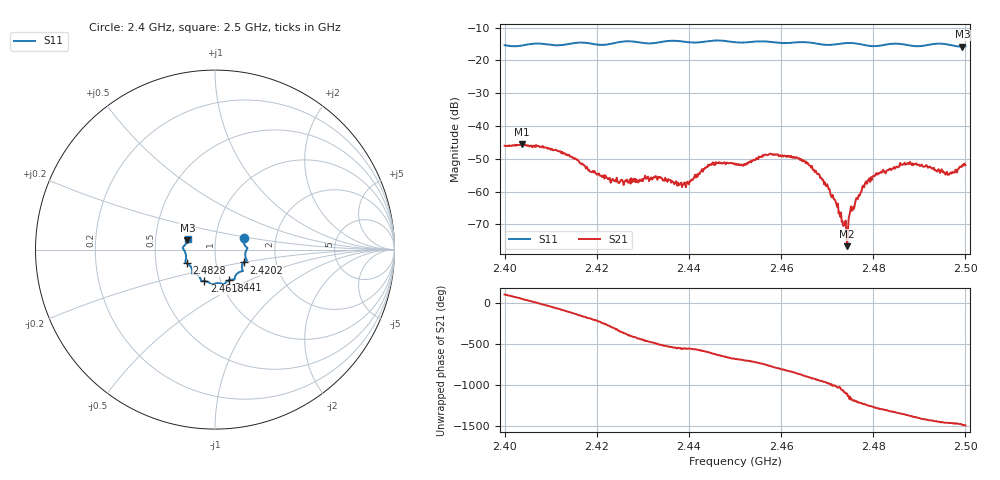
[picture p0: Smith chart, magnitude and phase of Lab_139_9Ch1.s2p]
# Hz S RI R 50
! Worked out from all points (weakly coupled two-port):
!   601 points, 2.4 GHz to 2.5 GHz, reference 50 ohm
!   highest |S21| = -45.49 dB at 2.4037 GHz (marker M1); lowest = -76.7 dB at 2.4743 GHz (marker M2)
!   lowest |S11| = -15.8 dB at 2.4993 GHz (marker M3), VSWR 1.39, Z = 36.5 + j3.81 ohm
!   |S11| at or under -10 dB: start of sweep to end of sweep
!   S12 and S22 are empty: the file has one direction only
!   S11 on the Smith chart (normalised r, x): 2.4 GHz: 1.36, +0.18; 2.4202 GHz: 1.36, -0.20; 2.441 GHz: 1.10, -0.39; 2.4618 GHz: 0.84, -0.30; 2.4828 GHz: 0.72, -0.11; 2.5 GHz: 0.73, +0.09
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2.4e9  0.1589 0.0629  -0.00104 0.00489  0 0  0 0
2.403667e9  0.1668 0.0225  0.00338 0.0041  0 0  0 0
2.416667e9  0.1772 -0.0607  -0.00244 -0.000965  0 0  0 0
2.420167e9  0.1589 -0.0714  -0.00143 0.00115  0 0  0 0
2.425333e9  0.1548 -0.1153  0.00151 7.65e-05  0 0  0 0
2.433333e9  0.1116 -0.1508  -0.00138 -0.000956  0 0  0 0
2.439e9  0.0978 -0.1664  -0.00135 0.00026  0 0  0 0
2.441e9  0.0789 -0.1699  -0.00144 0.000642  0 0  0 0
2.444667e9  0.0531 -0.1917  -0.000941 0.00238  0 0  0 0
2.45e9  0.0285 -0.1875  0.0021 0.00151  0 0  0 0
2.461833e9  -0.0591 -0.1755  -0.00135 -0.00315  0 0  0 0
2.466667e9  -0.0789 -0.1683  -0.0023 0.000884  0 0  0 0
2.47e9  -0.095 -0.1441  -0.000376 0.00124  0 0  0 0
2.474333e9  -0.1262 -0.1343  0.000133 -6.28e-05  0 0  0 0
2.475167e9  -0.1276 -0.1334  -9.35e-05 -0.000588  0 0  0 0
2.478e9  -0.1274 -0.1162  -0.000999 -0.000587  0 0  0 0
2.482833e9  -0.1572 -0.0765  -0.00147 0.00147  0 0  0 0
2.483333e9  -0.1603 -0.0751  -0.00118 0.00177  0 0  0 0
2.488e9  -0.1615 -0.0499  0.00124 0.00256  0 0  0 0
2.496167e9  -0.1741 0.0178  0.00169 -0.000601  0 0  0 0
2.499333e9  -0.1542 0.0509  0.00184 -0.00174  0 0  0 0
2.5e9  -0.1522 0.0604  0.00153 -0.002  0 0  0 0
